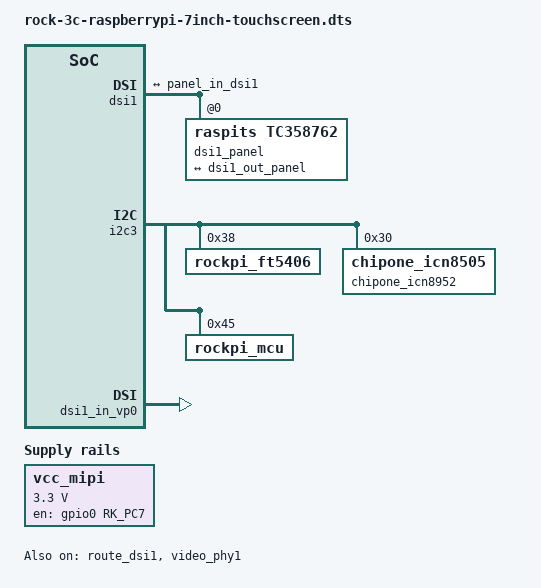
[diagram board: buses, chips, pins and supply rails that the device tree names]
/dts-v1/;
/plugin/;

#include <dt-bindings/gpio/gpio.h>
#include <dt-bindings/pinctrl/rockchip.h>

/ {
	metadata {
		title = "Enable Raspberry Pi 7-inch Touchscreen";
		compatible = "radxa,rock-3c";
		category = "display";
		exclusive = "video_phy1", "i2c3";
		description = "Enable Raspberry Pi 7-inch Touchscreen.";
	};
};

&{/} {
	vcc_mipi: vcc-mipi {
		status = "okay";
		compatible = "regulator-fixed";
		regulator-name = "vcc_mipi";
		regulator-boot-on;
		regulator-min-microvolt = <3300000>;
		regulator-max-microvolt = <3300000>;
		enable-active-high;
		regulator-always-on;
		gpio = <&gpio0 RK_PC7 GPIO_ACTIVE_HIGH>;
	};
};

&dsi1 {
	status = "okay";
	#address-cells = <1>;
	#size-cells = <0>;

	dsi1_panel: dsi-panel@0 {
		compatible = "raspits,tc358762";
		reg = <0x0>;
		status = "okay";

		ports {
			#address-cells = <1>;
			#size-cells = <0>;

			port@0 {
				reg = <0>;
				panel_in_dsi1: endpoint {
					remote-endpoint = <&dsi1_out_panel>;
				};
			};
		};
	};

	ports {
		#address-cells = <1>;
		#size-cells = <0>;

		port@1 {
			reg = <1>;
			#address-cells = <1>;
			#size-cells = <0>;

			dsi1_out_panel: endpoint@0 {
				reg = <0>;
				remote-endpoint = <&panel_in_dsi1>;
			};
		};
	};
};

&i2c3 {
	status = "okay";
	pinctrl-0 = <&i2c3m1_xfer>;
	#address-cells = <1>;
	#size-cells = <0>;

	rockpi_ft5406: rockpi_ft5406@38 {
		compatible = "rockpi_ft5406";
		reg = <0x38>;
	};

	chipone_icn8952: chipone_icn8952@30 {
		compatible = "chipone_icn8505";
		reg = <0x30>;
	};

	rockpi_mcu: rockpi-mcu@45 {
		compatible = "rockpi_mcu";
		reg = <0x45>;
	};
};

&dsi1_in_vp0 {
	status = "okay";
};

&route_dsi1 {
	status = "okay";
	connect = <&vp0_out_dsi1>;
};

&hdmi {
	status = "disabled";
};

&hdmi_in_vp0 {
	status = "disabled";
};

&video_phy1 {
	status = "okay";
};
